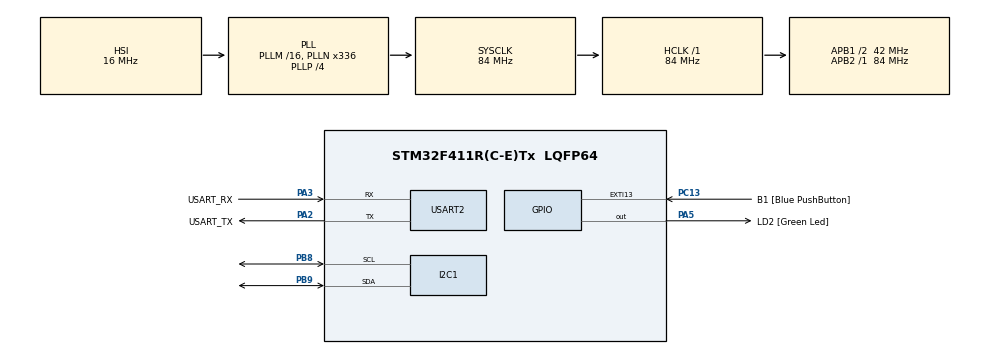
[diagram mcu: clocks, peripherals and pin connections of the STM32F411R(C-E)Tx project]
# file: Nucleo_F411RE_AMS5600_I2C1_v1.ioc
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I2C1.I2C_Mode=I2C_Fast
Mcu.Family=STM32F4
Mcu.Name=STM32F411R(C-E)Tx
Mcu.Package=LQFP64
NVIC.PriorityGroup=NVIC_PRIORITYGROUP_0
PA13.GPIO_Label=TMS
PA13.Mode=Serial_Wire
PA13.Signal=SYS_JTMS-SWDIO
PA14.GPIO_Label=TCK
PA14.Mode=Serial_Wire
PA14.Signal=SYS_JTCK-SWCLK
PA2.GPIO_Label=USART_TX
PA2.Mode=Asynchronous
PA2.Signal=USART2_TX
PA3.GPIO_Label=USART_RX
PA3.Mode=Asynchronous
PA3.Signal=USART2_RX
PA5.GPIO_Label=LD2 [Green Led]
PA5.Signal=GPIO_Output
PB3.GPIO_Label=SWO
PB3.Signal=SYS_JTDO-SWO
PB8.Mode=I2C
PB8.Signal=I2C1_SCL
PB9.Mode=I2C
PB9.Signal=I2C1_SDA
PC13-ANTI_TAMP.GPIO_Label=B1 [Blue PushButton]
PC13-ANTI_TAMP.GPIO_ModeDefaultEXTI=GPIO_MODE_IT_FALLING
PC13-ANTI_TAMP.Signal=GPXTI13
PC14-OSC32_IN.Mode=LSE-External-Oscillator
PC14-OSC32_IN.Signal=RCC_OSC32_IN
PC15-OSC32_OUT.Mode=LSE-External-Oscillator
PC15-OSC32_OUT.Signal=RCC_OSC32_OUT
PH0\ -\ OSC_IN.Mode=HSE-External-Clock-Source
PH0\ -\ OSC_IN.Signal=RCC_OSC_IN
PH1\ -\ OSC_OUT.Mode=HSE-External-Clock-Source
PH1\ -\ OSC_OUT.Signal=RCC_OSC_OUT
ProjectManager.HeapSize=0x200
ProjectManager.StackSize=0x400
ProjectManager.TargetToolchain=STM32CubeIDE
RCC.48MHZClocksFreq_Value=84000000
RCC.AHBFreq_Value=84000000
RCC.APB1CLKDivider=RCC_HCLK_DIV2
RCC.APB1Freq_Value=42000000
RCC.APB1TimFreq_Value=84000000
RCC.APB2Freq_Value=84000000
RCC.APB2TimFreq_Value=84000000
RCC.CortexFreq_Value=84000000
RCC.FLatency-AdvancedSettings=FLASH_LATENCY_2
RCC.HCLKFreq_Value=84000000
RCC.HSE_VALUE=8000000
RCC.HSI_VALUE=16000000
RCC.PLLN=336
RCC.PLLP=RCC_PLLP_DIV4
RCC.SYSCLKFreq_VALUE=84000000
RCC.SYSCLKSource=RCC_SYSCLKSOURCE_PLLCLK
RCC.VCOOutputFreq_Value=336000000
USART2.VirtualMode=VM_ASYNC
board=NUCLEO-F411RE

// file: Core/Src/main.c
/* USER CODE BEGIN Header */
/**
  ******************************************************************************
  * @file           : main.c
  * @brief          : Main program body
  ******************************************************************************
  * @attention
  *
  * Copyright (c) 2024 STMicroelectronics.
  * All rights reserved.
  *
  * This software is licensed under terms that can be found in the LICENSE file
  * in the root directory of this software component.
  * If no LICENSE file comes with this software, it is provided AS-IS.
  *
  * https://github.com/raulgotor/ams_as5600
  ******************************************************************************
  */
/* USER CODE END Header */
#include "main.h"

/* USER CODE BEGIN Includes */
#include "AMS5600_api.h"
#include <stdio.h>
#include <math.h>
#include <string.h> /* strlen */
#include <inttypes.h>

/* USER CODE END Includes */

I2C_HandleTypeDef hi2c1;

UART_HandleTypeDef huart2;

void SystemClock_Config(void);
static void MX_GPIO_Init(void);
static void MX_I2C1_Init(void);
static void MX_USART2_UART_Init(void);

/* USER CODE BEGIN 0 */
// WARNING UART2 is connected to st-link
// Properties -> Settings -> MCU_Settings -> select use float with printf
/*
 * USART2, BaudRate = 115200, WordLength = UART_WORDLENGTH_8B, StopBits = UART_STOPBITS_1;
 * */
int _write(int file, char *ptr, int len)
{
	HAL_UART_Transmit(&huart2,(uint8_t *)ptr, len, 10);
	return len;
}
/* USER CODE END 0 */

int main(void)
{

  /* MCU Configuration--------------------------------------------------------*/

  /* Reset of all peripherals, Initializes the Flash interface and the Systick. */
  HAL_Init();

  /* Configure the system clock */
  SystemClock_Config();

  /* Initialize all configured peripherals */
  MX_GPIO_Init();
  MX_I2C1_Init();
  MX_USART2_UART_Init();
  /* USER CODE BEGIN 2 */

  uint8_t status = 0;
  uint8_t magStatus=0;

  while (!magStatus){ // magnet detection
      status = AMS5600_detectMagnet(&magStatus);
      if (status != HAL_OK) Error_Handler();
      printf("magStatus : %d\n", magStatus);
  }

  /* USER CODE END 2 */

  /* Infinite loop */
  /* USER CODE BEGIN WHILE */
  uint16_t rawAngle;
  while (1)
  {
    /* USER CODE END WHILE */

    /* USER CODE BEGIN 3 */
	  status = AMS5600_getRawAngle(&rawAngle);
	  if (status != HAL_OK) Error_Handler();
	  printf("rawAngle : %d   Angle (deg) : %f\n", rawAngle, rawAngle * 0.087890625);
	  HAL_Delay(100);
  }
  /* USER CODE END 3 */
}

void SystemClock_Config(void)
{
  RCC_OscInitTypeDef RCC_OscInitStruct = {0};
  RCC_ClkInitTypeDef RCC_ClkInitStruct = {0};

  /** Configure the main internal regulator output voltage
  */
  __HAL_RCC_PWR_CLK_ENABLE();
  __HAL_PWR_VOLTAGESCALING_CONFIG(PWR_REGULATOR_VOLTAGE_SCALE1);

  /** Initializes the RCC Oscillators according to the specified parameters
  * in the RCC_OscInitTypeDef structure.
  */
  RCC_OscInitStruct.OscillatorType = RCC_OSCILLATORTYPE_HSI;
  RCC_OscInitStruct.HSIState = RCC_HSI_ON;
  RCC_OscInitStruct.HSICalibrationValue = RCC_HSICALIBRATION_DEFAULT;
  RCC_OscInitStruct.PLL.PLLState = RCC_PLL_ON;
  RCC_OscInitStruct.PLL.PLLSource = RCC_PLLSOURCE_HSI;
  RCC_OscInitStruct.PLL.PLLM = 16;
  RCC_OscInitStruct.PLL.PLLN = 336;
  RCC_OscInitStruct.PLL.PLLP = RCC_PLLP_DIV4;
  RCC_OscInitStruct.PLL.PLLQ = 4;
  if (HAL_RCC_OscConfig(&RCC_OscInitStruct) != HAL_OK)
  {
    Error_Handler();
  }

  /** Initializes the CPU, AHB and APB buses clocks
  */
  RCC_ClkInitStruct.ClockType = RCC_CLOCKTYPE_HCLK|RCC_CLOCKTYPE_SYSCLK
                              |RCC_CLOCKTYPE_PCLK1|RCC_CLOCKTYPE_PCLK2;
  RCC_ClkInitStruct.SYSCLKSource = RCC_SYSCLKSOURCE_PLLCLK;
  RCC_ClkInitStruct.AHBCLKDivider = RCC_SYSCLK_DIV1;
  RCC_ClkInitStruct.APB1CLKDivider = RCC_HCLK_DIV2;
  RCC_ClkInitStruct.APB2CLKDivider = RCC_HCLK_DIV1;

  if (HAL_RCC_ClockConfig(&RCC_ClkInitStruct, FLASH_LATENCY_2) != HAL_OK)
  {
    Error_Handler();
  }
}

static void MX_I2C1_Init(void)
{

  hi2c1.Instance = I2C1;
  hi2c1.Init.ClockSpeed = 400000;
  hi2c1.Init.DutyCycle = I2C_DUTYCYCLE_2;
  hi2c1.Init.OwnAddress1 = 0;
  hi2c1.Init.AddressingMode = I2C_ADDRESSINGMODE_7BIT;
  hi2c1.Init.DualAddressMode = I2C_DUALADDRESS_DISABLE;
  hi2c1.Init.OwnAddress2 = 0;
  hi2c1.Init.GeneralCallMode = I2C_GENERALCALL_DISABLE;
  hi2c1.Init.NoStretchMode = I2C_NOSTRETCH_DISABLE;
  if (HAL_I2C_Init(&hi2c1) != HAL_OK)
  {
    Error_Handler();
  }

}

static void MX_USART2_UART_Init(void)
{

  huart2.Instance = USART2;
  huart2.Init.BaudRate = 115200;
  huart2.Init.WordLength = UART_WORDLENGTH_8B;
  huart2.Init.StopBits = UART_STOPBITS_1;
  huart2.Init.Parity = UART_PARITY_NONE;
  huart2.Init.Mode = UART_MODE_TX_RX;
  huart2.Init.HwFlowCtl = UART_HWCONTROL_NONE;
  huart2.Init.OverSampling = UART_OVERSAMPLING_16;
  if (HAL_UART_Init(&huart2) != HAL_OK)
  {
    Error_Handler();
  }

}

static void MX_GPIO_Init(void)
{
  GPIO_InitTypeDef GPIO_InitStruct = {0};

  /* GPIO Ports Clock Enable */
  __HAL_RCC_GPIOC_CLK_ENABLE();
  __HAL_RCC_GPIOH_CLK_ENABLE();
  __HAL_RCC_GPIOA_CLK_ENABLE();
  __HAL_RCC_GPIOB_CLK_ENABLE();

  /*Configure GPIO pin Output Level */
  HAL_GPIO_WritePin(LD2_GPIO_Port, LD2_Pin, GPIO_PIN_RESET);

  /*Configure GPIO pin : B1_Pin */
  GPIO_InitStruct.Pin = B1_Pin;
  GPIO_InitStruct.Mode = GPIO_MODE_IT_FALLING;
  GPIO_InitStruct.Pull = GPIO_NOPULL;
  HAL_GPIO_Init(B1_GPIO_Port, &GPIO_InitStruct);

  /*Configure GPIO pin : LD2_Pin */
  GPIO_InitStruct.Pin = LD2_Pin;
  GPIO_InitStruct.Mode = GPIO_MODE_OUTPUT_PP;
  GPIO_InitStruct.Pull = GPIO_NOPULL;
  GPIO_InitStruct.Speed = GPIO_SPEED_FREQ_LOW;
  HAL_GPIO_Init(LD2_GPIO_Port, &GPIO_InitStruct);

}

void Error_Handler(void)
{
  __disable_irq();
  while (1)
  {
  }
}
